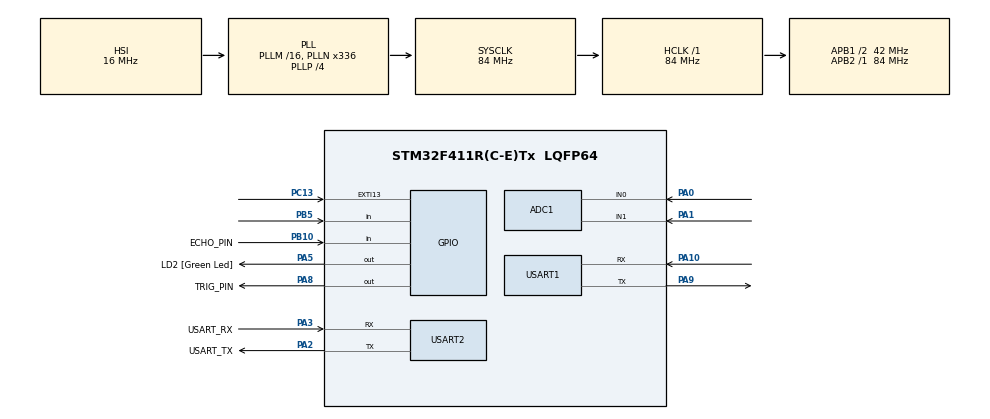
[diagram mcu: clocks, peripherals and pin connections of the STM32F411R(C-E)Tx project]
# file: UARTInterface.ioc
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ADC1.Channel-0\#ChannelRegularConversion=ADC_CHANNEL_0
ADC1.NbrOfConversionFlag=1
ADC1.Rank-0\#ChannelRegularConversion=1
ADC1.SamplingTime-0\#ChannelRegularConversion=ADC_SAMPLETIME_3CYCLES
ADC1.master=1
FREERTOS.BinarySemaphores01=myBinarySem01,Dynamic,NULL,Available
FREERTOS.Mutexes01=myAdcMutex,Dynamic,NULL,Available;myUartMutex,Dynamic,NULL,Available
FREERTOS.Tasks01=defaultTask,24,128,StartDefaultTask,Default,NULL,Dynamic,NULL,NULL
Mcu.Family=STM32F4
Mcu.Name=STM32F411R(C-E)Tx
Mcu.Package=LQFP64
NVIC.EXTI15_10_IRQn=true\:5\:0\:false\:false\:true\:true\:true\:true\:true
NVIC.PriorityGroup=NVIC_PRIORITYGROUP_4
PA0-WKUP.Signal=ADCx_IN0
PA1.Signal=ADCx_IN1
PA10.Mode=Asynchronous
PA10.Signal=USART1_RX
PA13.GPIO_Label=TMS
PA13.Mode=Serial_Wire
PA13.Signal=SYS_JTMS-SWDIO
PA14.GPIO_Label=TCK
PA14.Mode=Serial_Wire
PA14.Signal=SYS_JTCK-SWCLK
PA2.GPIO_Label=USART_TX
PA2.Mode=Asynchronous
PA2.Signal=USART2_TX
PA3.GPIO_Label=USART_RX
PA3.Mode=Asynchronous
PA3.Signal=USART2_RX
PA5.GPIO_Label=LD2 [Green Led]
PA5.Signal=GPIO_Output
PA8.GPIO_Label=TRIG_PIN
PA8.Signal=GPIO_Output
PA9.Mode=Asynchronous
PA9.Signal=USART1_TX
PB10.GPIO_Label=ECHO_PIN
PB10.Signal=GPIO_Input
PB3.GPIO_Label=SWO
PB3.Signal=SYS_JTDO-SWO
PB5.Signal=GPIO_Input
PC13-ANTI_TAMP.Signal=GPXTI13
PC14-OSC32_IN.Mode=LSE-External-Oscillator
PC14-OSC32_IN.Signal=RCC_OSC32_IN
PC15-OSC32_OUT.Mode=LSE-External-Oscillator
PC15-OSC32_OUT.Signal=RCC_OSC32_OUT
PH0\ -\ OSC_IN.Mode=HSE-External-Clock-Source
PH0\ -\ OSC_IN.Signal=RCC_OSC_IN
PH1\ -\ OSC_OUT.Mode=HSE-External-Clock-Source
PH1\ -\ OSC_OUT.Signal=RCC_OSC_OUT
ProjectManager.HeapSize=0x200
ProjectManager.StackSize=0x400
ProjectManager.TargetToolchain=STM32CubeIDE
RCC.48MHZClocksFreq_Value=84000000
RCC.AHBFreq_Value=84000000
RCC.APB1CLKDivider=RCC_HCLK_DIV2
RCC.APB1Freq_Value=42000000
RCC.APB1TimFreq_Value=84000000
RCC.APB2Freq_Value=84000000
RCC.APB2TimFreq_Value=84000000
RCC.CortexFreq_Value=84000000
RCC.FLatency-AdvancedSettings=FLASH_LATENCY_2
RCC.HCLKFreq_Value=84000000
RCC.HSE_VALUE=8000000
RCC.HSI_VALUE=16000000
RCC.PLLN=336
RCC.PLLP=RCC_PLLP_DIV4
RCC.SYSCLKFreq_VALUE=84000000
RCC.SYSCLKSource=RCC_SYSCLKSOURCE_PLLCLK
RCC.VCOOutputFreq_Value=336000000
SH.ADCx_IN0.0=ADC1_IN0,IN0
SH.ADCx_IN1.0=ADC1_IN1,IN1
TIM2.AutoReloadPreload=TIM_AUTORELOAD_PRELOAD_ENABLE
TIM2.Prescaler=83
USART1.VirtualMode=VM_ASYNC
USART2.VirtualMode=VM_ASYNC
VP_FREERTOS_VS_CMSIS_V2.Mode=CMSIS_V2
VP_TIM2_VS_ClockSourceINT.Mode=Internal
board=NUCLEO-F411RE

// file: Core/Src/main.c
/* USER CODE BEGIN Header */
/**
  ******************************************************************************
  * @file           : main.c
  * @brief          : Main program body
  ******************************************************************************
  * @attention
  *
  * Copyright (c) 2025 STMicroelectronics.
  * All rights reserved.
  *
  * This software is licensed under terms that can be found in the LICENSE file
  * in the root directory of this software component.
  * If no LICENSE file comes with this software, it is provided AS-IS.
  *
  ******************************************************************************
  */
/* USER CODE END Header */
#include "main.h"
#include "cmsis_os.h"

ADC_HandleTypeDef hadc1;

TIM_HandleTypeDef htim2;

UART_HandleTypeDef huart1;
UART_HandleTypeDef huart2;

/* Definitions for defaultTask */
osThreadId_t defaultTaskHandle;
const osThreadAttr_t defaultTask_attributes = {
  .name = "defaultTask",
  .stack_size = 128 * 4,
  .priority = (osPriority_t) osPriorityNormal,
};
/* Definitions for myAdcMutex */
osMutexId_t myAdcMutexHandle;
const osMutexAttr_t myAdcMutex_attributes = {
  .name = "myAdcMutex"
};
/* Definitions for myUartMutex */
osMutexId_t myUartMutexHandle;
const osMutexAttr_t myUartMutex_attributes = {
  .name = "myUartMutex"
};
/* Definitions for myBinarySem01 */
osSemaphoreId_t myBinarySem01Handle;
const osSemaphoreAttr_t myBinarySem01_attributes = {
  .name = "myBinarySem01"
};

void SystemClock_Config(void);
static void MX_GPIO_Init(void);
static void MX_USART2_UART_Init(void);
static void MX_USART1_UART_Init(void);
static void MX_ADC1_Init(void);
static void MX_TIM2_Init(void);
void StartDefaultTask(void *argument);

/* USER CODE BEGIN 0 */

osThreadId_t lightTaskHandle;
const osThreadAttr_t lightTask_attributes = {
  .name = "lightTask",
  .stack_size = 128 * 4,
  .priority = (osPriority_t) osPriorityLow,
};

osThreadId_t soundTaskHandle;
const osThreadAttr_t soundTask_attributes = {
  .name = "soundTask",
  .stack_size = 128 * 4,
  .priority = (osPriority_t) osPriorityAboveNormal,
};

osThreadId_t soundTaskWithDynamicNoisesHandle;
const osThreadAttr_t soundTaskWithDynamicNoises_attributes = {
  .name = "soundTaskWithDynamicNoises",
  .stack_size = 128 * 4,
  .priority = (osPriority_t) osPriorityAboveNormal,
};

osThreadId_t sonicTaskHandle;
const osThreadAttr_t sonicTask_attributes = {
  .name = "sonicTask",
  .stack_size = 128 * 4,
  .priority = (osPriority_t) osPriorityNormal,
};

osThreadId_t UARTTaskHandle;
const osThreadAttr_t UARTTask_attributes = {
  .name = "UARTTask",
  .stack_size = 128 * 4,
  .priority = (osPriority_t) osPriorityNormal,
};

osThreadId_t CalibrationTaskHandle;
const osThreadAttr_t CalibrationTask_attributes = {
  .name = "CalibrationTask",
  .stack_size = 128 * 4,
  .priority = (osPriority_t) osPriorityNormal,
};

char mes[] = "{\"dist\": 10, \"light\": 20, \"sound\": 30}\r\n";
uint8_t btnPress=0;
uint32_t btnPressTime=0;

//uint32_t LIGHT_THRESHOLD = 100;
uint32_t LIGHT_SAMP = 40;

//uint32_t AMP_THRESHOLD = 80;
uint32_t SOUND_SAMP = 170;
//Dynamic noises
float noise_floor = 40.0;
const float alpha = 0.05; // Learning rate (0.01 = slow, 0.1 = fast)
const float sensitivity_ratio = 1.5; // Trigger with noise * sen_ratio

//ultrasonic
uint32_t inputCaptureVal1 = 0;
uint32_t inputCaptureVal2 = 0;
uint32_t difference = 0;
uint8_t isFirstCaptured = 0;  // 0 = capturing first edge, 1 = capturing second
uint32_t distance = 0;

char calib_msg[100];

int distVal = 0;
int lightVal = 0;
int soundVal = 0;

void UARTTask(void *argument)
{
	  while(1)
	  {
		  int currentSound = 0;

		  taskENTER_CRITICAL();
		  currentSound = soundVal;
		  soundVal = 0;
		  taskEXIT_CRITICAL();

		  sprintf(mes, "{\"dist\": %d, \"light\": %d, \"sound\": %d}\r\n", distVal, lightVal, currentSound);
		  if (osMutexAcquire(myUartMutexHandle, osWaitForever) == osOK)
		  {
			  HAL_UART_Transmit(&huart1, mes, strlen(mes), HAL_MAX_DELAY);
			  HAL_UART_Transmit(&huart2, mes, strlen(mes), HAL_MAX_DELAY);

			  osMutexRelease(myUartMutexHandle);
		  }

		  osDelay(1000);
	  }
}

void lightTask(void *argument)
{
	while (1)
	{
		uint32_t sample = 0;
		uint32_t signal_max = 0;

		//lock myAdcMutex if available
		if (osMutexAcquire(myAdcMutexHandle, osWaitForever) == osOK)
		{
			ADC_ChannelConfTypeDef sConfig = {0};
			sConfig.Channel = ADC_CHANNEL_1;
			sConfig.Rank = 1;
			sConfig.SamplingTime = ADC_SAMPLETIME_15CYCLES;
			HAL_ADC_ConfigChannel(&hadc1, &sConfig);

			uint32_t start_time = HAL_GetTick();
			//sampling for LIGHT_SAMP
			while ((HAL_GetTick() - start_time) < LIGHT_SAMP)
			{
				HAL_ADC_Start(&hadc1);
			    if (HAL_ADC_PollForConversion(&hadc1, 1) == HAL_OK)
			    {
			    	sample = HAL_ADC_GetValue(&hadc1);
			        HAL_ADC_Stop(&hadc1);

			        if (sample > signal_max) signal_max = sample;
			    }
			}

			lightVal = signal_max;
			osMutexRelease(myAdcMutexHandle);
		}

		// rest + release Mutex
		osDelay(800);
	}
}

void soundTask(void *argument)
{
	while (1)
	{
		uint32_t signal_max = 0;
		uint32_t signal_min = 4095;
		uint32_t sample = 0;

		//lock myAdcMutex if available
		if (osMutexAcquire(myAdcMutexHandle, osWaitForever) == osOK)
		{
			ADC_ChannelConfTypeDef sConfig = {0};
			sConfig.Channel = ADC_CHANNEL_0;
			sConfig.Rank = 1;
			sConfig.SamplingTime = ADC_SAMPLETIME_15CYCLES;
			HAL_ADC_ConfigChannel(&hadc1, &sConfig);

			uint32_t start_time = HAL_GetTick();
			//sampling for SOUND_SAMP
			while ((HAL_GetTick() - start_time) < SOUND_SAMP)
			{
				HAL_ADC_Start(&hadc1);
			    if (HAL_ADC_PollForConversion(&hadc1, 1) == HAL_OK)
			    {
			    	sample = HAL_ADC_GetValue(&hadc1);
			        HAL_ADC_Stop(&hadc1);

			        if (sample > signal_max) signal_max = sample;
			        if (sample < signal_min) signal_min = sample;
			    }
			}
			osMutexRelease(myAdcMutexHandle);
			uint32_t amplitude = signal_max - signal_min;
			// prevent overwriting the critical amplitude
			if (amplitude > soundVal)
			{
				soundVal = amplitude;
			}
		}

		// rest + release Mutex
		osDelay(20);
	}
}

void soundTaskWithDynamicNoises(void *argument)
{
	while (1)
	{
		uint32_t signal_max = 0;
		uint32_t signal_min = 4095;
		uint32_t sample = 0;

		//lock myAdcMutex if available
		if (osMutexAcquire(myAdcMutexHandle, osWaitForever) == osOK)
		{
			ADC_ChannelConfTypeDef sConfig = {0};
			sConfig.Channel = ADC_CHANNEL_0;
			sConfig.Rank = 1;
			sConfig.SamplingTime = ADC_SAMPLETIME_15CYCLES;
			HAL_ADC_ConfigChannel(&hadc1, &sConfig);

			uint32_t start_time = HAL_GetTick();
			//sampling for SOUND_SAMP
			while ((HAL_GetTick() - start_time) < SOUND_SAMP)
			{
				HAL_ADC_Start(&hadc1);
			    if (HAL_ADC_PollForConversion(&hadc1, 1) == HAL_OK)
			    {
			    	sample = HAL_ADC_GetValue(&hadc1);
			        HAL_ADC_Stop(&hadc1);

			        if (sample > signal_max) signal_max = sample;
			        if (sample < signal_min) signal_min = sample;
			    }
			}

			osMutexRelease(myAdcMutexHandle);

			uint32_t amplitude = signal_max - signal_min;
			if (amplitude > (noise_floor * sensitivity_ratio))
			{
				// Update the critical value for UART
			    taskENTER_CRITICAL();
			    if (amplitude > soundVal)
			    {
			    	soundVal = amplitude;
			    }
			    taskEXIT_CRITICAL();
			}
			else
			{
				// Update the "Noise Floor"
			    noise_floor = (alpha * amplitude) + ((1.0 - alpha) * noise_floor);
			}
		}

		// rest + release Mutex
		osDelay(10);
	}
}

// delay with micro sec
void delay_us (uint16_t us)
{
	__HAL_TIM_SET_COUNTER(&htim2,0);  // Reset the counter to 0
	while (__HAL_TIM_GET_COUNTER(&htim2) < us);  // Wait until counter reaches the requested delay
}

void sonicTask(void *argument)
{
	while (1)
	{
	    // ensure clean start
	    HAL_GPIO_WritePin(TRIG_PIN_GPIO_Port, TRIG_PIN_Pin, GPIO_PIN_RESET);
	    delay_us(3);

	    // Trigger Pulse (10us High)
	    HAL_GPIO_WritePin(TRIG_PIN_GPIO_Port, TRIG_PIN_Pin, GPIO_PIN_SET);
	    delay_us(10);
	    HAL_GPIO_WritePin(TRIG_PIN_GPIO_Port, TRIG_PIN_Pin, GPIO_PIN_RESET);

	    // Wait for response from ECHO pin
	    // Note: In a real product, add a timeout here so code doesn't hang if sensor is broken
	    while (HAL_GPIO_ReadPin(ECHO_PIN_GPIO_Port, ECHO_PIN_Pin) == GPIO_PIN_RESET);

	    // set counter to 0 at the moment ECHO goes HIGH
	    __HAL_TIM_SET_COUNTER(&htim2, 0);

	    // wait for the end of response
	    while (HAL_GPIO_ReadPin(ECHO_PIN_GPIO_Port, ECHO_PIN_Pin) == GPIO_PIN_SET);

	    // time passed
	    difference = __HAL_TIM_GET_COUNTER(&htim2);

	    // Speed of sound is 343 m/s or 0.0343 cm/us.
	    // Distance = (Time * Speed) / 2 (because sound goes there and back)
	    distVal = (difference * 0.0343) / 2;

		osDelay(500);
	}
}

volatile uint32_t last_interrupt_time = 0;

void HAL_GPIO_EXTI_Callback(uint16_t GPIO_Pin)
{
    if (GPIO_Pin == GPIO_PIN_13)
    {
    	uint32_t current_time = HAL_GetTick();
    	if ((current_time - last_interrupt_time) > 200) {
    		last_interrupt_time = current_time;
            osSemaphoreRelease(myBinarySem01Handle);
    	}
    }
}

void CalibrationTask(void *argument)
{
  while(1)
  {
	// user button pressed
    osSemaphoreAcquire(myBinarySem01Handle, osWaitForever);

    HAL_GPIO_WritePin(GPIOA, GPIO_PIN_5, GPIO_PIN_SET);

    uint32_t sum_dist = 0;
    uint32_t sum_light = 0;
    uint32_t sum_sound = 0;
    int samples = 0;

    // sample every 0.5 sec for 20 samples (total 10 sec)
    for (int i = 0; i < 20; i++)
    {
    	if (distVal != 0 && lightVal != 0 && soundVal != 0) {
            sum_dist  += distVal;
            sum_light += lightVal;
            sum_sound += soundVal;
            samples++;
    	}
        osDelay(500);
    }

    int avg_dist  = sum_dist / samples;
    int avg_light = sum_light / samples;
    int avg_sound = sum_sound / samples;

    sprintf(calib_msg, "{\"calibrate\": 1, \"dist\": %d, \"light\": %d, \"sound\": %d}\r\n", avg_dist, avg_light, avg_sound);

    if (osMutexAcquire(myUartMutexHandle, osWaitForever) == osOK)
    {
        HAL_UART_Transmit(&huart1, calib_msg, strlen(calib_msg), HAL_MAX_DELAY);
        HAL_UART_Transmit(&huart2, calib_msg, strlen(calib_msg), HAL_MAX_DELAY);

        osMutexRelease(myUartMutexHandle);
    }

    HAL_GPIO_WritePin(GPIOA, GPIO_PIN_5, GPIO_PIN_RESET);
  }
}

/* USER CODE END 0 */

int main(void)
{

  /* MCU Configuration--------------------------------------------------------*/

  /* Reset of all peripherals, Initializes the Flash interface and the Systick. */
  HAL_Init();

  /* Configure the system clock */
  SystemClock_Config();

  /* Initialize all configured peripherals */
  MX_GPIO_Init();
  MX_USART2_UART_Init();
  MX_USART1_UART_Init();
  MX_ADC1_Init();
  MX_TIM2_Init();
  /* USER CODE BEGIN 2 */
  HAL_TIM_Base_Start(&htim2);
  /* USER CODE END 2 */

  /* Init scheduler */
  osKernelInitialize();
  /* Create the mutex(es) */
  /* creation of myAdcMutex */
  myAdcMutexHandle = osMutexNew(&myAdcMutex_attributes);

  /* creation of myUartMutex */
  myUartMutexHandle = osMutexNew(&myUartMutex_attributes);

  /* Create the semaphores(s) */
  /* creation of myBinarySem01 */
  myBinarySem01Handle = osSemaphoreNew(1, 1, &myBinarySem01_attributes);

  /* Create the thread(s) */
  /* creation of defaultTask */
  defaultTaskHandle = osThreadNew(StartDefaultTask, NULL, &defaultTask_attributes);

  /* USER CODE BEGIN RTOS_THREADS */
  /* add threads, ... */
  UARTTaskHandle = osThreadNew(UARTTask, NULL, &UARTTask_attributes);
  lightTaskHandle = osThreadNew(lightTask, NULL, &lightTask_attributes);
  soundTaskHandle = osThreadNew(soundTask, NULL, &soundTask_attributes);
//  soundTaskWithDynamicNoisesHandle = osThreadNew(soundTaskWithDynamicNoises, NULL, &soundTaskWithDynamicNoises_attributes);
  sonicTaskHandle = osThreadNew(sonicTask, NULL, &sonicTask_attributes);
  CalibrationTaskHandle = osThreadNew(CalibrationTask, NULL, &CalibrationTask_attributes);

  /* USER CODE END RTOS_THREADS */

  /* Start scheduler */
  osKernelStart();

  /* We should never get here as control is now taken by the scheduler */

  /* Infinite loop */
  while (1)
  {

  }
}

void SystemClock_Config(void)
{
  RCC_OscInitTypeDef RCC_OscInitStruct = {0};
  RCC_ClkInitTypeDef RCC_ClkInitStruct = {0};

  /** Configure the main internal regulator output voltage
  */
  __HAL_RCC_PWR_CLK_ENABLE();
  __HAL_PWR_VOLTAGESCALING_CONFIG(PWR_REGULATOR_VOLTAGE_SCALE1);

  /** Initializes the RCC Oscillators according to the specified parameters
  * in the RCC_OscInitTypeDef structure.
  */
  RCC_OscInitStruct.OscillatorType = RCC_OSCILLATORTYPE_HSI;
  RCC_OscInitStruct.HSIState = RCC_HSI_ON;
  RCC_OscInitStruct.HSICalibrationValue = RCC_HSICALIBRATION_DEFAULT;
  RCC_OscInitStruct.PLL.PLLState = RCC_PLL_ON;
  RCC_OscInitStruct.PLL.PLLSource = RCC_PLLSOURCE_HSI;
  RCC_OscInitStruct.PLL.PLLM = 16;
  RCC_OscInitStruct.PLL.PLLN = 336;
  RCC_OscInitStruct.PLL.PLLP = RCC_PLLP_DIV4;
  RCC_OscInitStruct.PLL.PLLQ = 4;
  if (HAL_RCC_OscConfig(&RCC_OscInitStruct) != HAL_OK)
  {
    Error_Handler();
  }

  /** Initializes the CPU, AHB and APB buses clocks
  */
  RCC_ClkInitStruct.ClockType = RCC_CLOCKTYPE_HCLK|RCC_CLOCKTYPE_SYSCLK
                              |RCC_CLOCKTYPE_PCLK1|RCC_CLOCKTYPE_PCLK2;
  RCC_ClkInitStruct.SYSCLKSource = RCC_SYSCLKSOURCE_PLLCLK;
  RCC_ClkInitStruct.AHBCLKDivider = RCC_SYSCLK_DIV1;
  RCC_ClkInitStruct.APB1CLKDivider = RCC_HCLK_DIV2;
  RCC_ClkInitStruct.APB2CLKDivider = RCC_HCLK_DIV1;

  if (HAL_RCC_ClockConfig(&RCC_ClkInitStruct, FLASH_LATENCY_2) != HAL_OK)
  {
    Error_Handler();
  }
}

static void MX_ADC1_Init(void)
{

  ADC_ChannelConfTypeDef sConfig = {0};

  /** Configure the global features of the ADC (Clock, Resolution, Data Alignment and number of conversion)
  */
  hadc1.Instance = ADC1;
  hadc1.Init.ClockPrescaler = ADC_CLOCK_SYNC_PCLK_DIV4;
  hadc1.Init.Resolution = ADC_RESOLUTION_12B;
  hadc1.Init.ScanConvMode = DISABLE;
  hadc1.Init.ContinuousConvMode = DISABLE;
  hadc1.Init.DiscontinuousConvMode = DISABLE;
  hadc1.Init.ExternalTrigConvEdge = ADC_EXTERNALTRIGCONVEDGE_NONE;
  hadc1.Init.ExternalTrigConv = ADC_SOFTWARE_START;
  hadc1.Init.DataAlign = ADC_DATAALIGN_RIGHT;
  hadc1.Init.NbrOfConversion = 1;
  hadc1.Init.DMAContinuousRequests = DISABLE;
  hadc1.Init.EOCSelection = ADC_EOC_SINGLE_CONV;
  if (HAL_ADC_Init(&hadc1) != HAL_OK)
  {
    Error_Handler();
  }

  /** Configure for the selected ADC regular channel its corresponding rank in the sequencer and its sample time.
  */
  sConfig.Channel = ADC_CHANNEL_0;
  sConfig.Rank = 1;
  sConfig.SamplingTime = ADC_SAMPLETIME_3CYCLES;
  if (HAL_ADC_ConfigChannel(&hadc1, &sConfig) != HAL_OK)
  {
    Error_Handler();
  }

}

static void MX_TIM2_Init(void)
{

  TIM_ClockConfigTypeDef sClockSourceConfig = {0};
  TIM_MasterConfigTypeDef sMasterConfig = {0};

  htim2.Instance = TIM2;
  htim2.Init.Prescaler = 83;
  htim2.Init.CounterMode = TIM_COUNTERMODE_UP;
  htim2.Init.Period = 4294967295;
  htim2.Init.ClockDivision = TIM_CLOCKDIVISION_DIV1;
  htim2.Init.AutoReloadPreload = TIM_AUTORELOAD_PRELOAD_ENABLE;
  if (HAL_TIM_Base_Init(&htim2) != HAL_OK)
  {
    Error_Handler();
  }
  sClockSourceConfig.ClockSource = TIM_CLOCKSOURCE_INTERNAL;
  if (HAL_TIM_ConfigClockSource(&htim2, &sClockSourceConfig) != HAL_OK)
  {
    Error_Handler();
  }
  sMasterConfig.MasterOutputTrigger = TIM_TRGO_RESET;
  sMasterConfig.MasterSlaveMode = TIM_MASTERSLAVEMODE_DISABLE;
  if (HAL_TIMEx_MasterConfigSynchronization(&htim2, &sMasterConfig) != HAL_OK)
  {
    Error_Handler();
  }

}

static void MX_USART1_UART_Init(void)
{

  huart1.Instance = USART1;
  huart1.Init.BaudRate = 115200;
  huart1.Init.WordLength = UART_WORDLENGTH_8B;
  huart1.Init.StopBits = UART_STOPBITS_1;
  huart1.Init.Parity = UART_PARITY_NONE;
  huart1.Init.Mode = UART_MODE_TX_RX;
  huart1.Init.HwFlowCtl = UART_HWCONTROL_NONE;
  huart1.Init.OverSampling = UART_OVERSAMPLING_16;
  if (HAL_UART_Init(&huart1) != HAL_OK)
  {
    Error_Handler();
  }

}

static void MX_USART2_UART_Init(void)
{

  huart2.Instance = USART2;
  huart2.Init.BaudRate = 115200;
  huart2.Init.WordLength = UART_WORDLENGTH_8B;
  huart2.Init.StopBits = UART_STOPBITS_1;
  huart2.Init.Parity = UART_PARITY_NONE;
  huart2.Init.Mode = UART_MODE_TX_RX;
  huart2.Init.HwFlowCtl = UART_HWCONTROL_NONE;
  huart2.Init.OverSampling = UART_OVERSAMPLING_16;
  if (HAL_UART_Init(&huart2) != HAL_OK)
  {
    Error_Handler();
  }

}

static void MX_GPIO_Init(void)
{
  GPIO_InitTypeDef GPIO_InitStruct = {0};

  /* GPIO Ports Clock Enable */
  __HAL_RCC_GPIOC_CLK_ENABLE();
  __HAL_RCC_GPIOH_CLK_ENABLE();
  __HAL_RCC_GPIOA_CLK_ENABLE();
  __HAL_RCC_GPIOB_CLK_ENABLE();

  /*Configure GPIO pin Output Level */
  HAL_GPIO_WritePin(GPIOA, LD2_Pin|TRIG_PIN_Pin, GPIO_PIN_RESET);

  /*Configure GPIO pin : PC13 */
  GPIO_InitStruct.Pin = GPIO_PIN_13;
  GPIO_InitStruct.Mode = GPIO_MODE_IT_RISING;
  GPIO_InitStruct.Pull = GPIO_NOPULL;
  HAL_GPIO_Init(GPIOC, &GPIO_InitStruct);

  /*Configure GPIO pins : LD2_Pin TRIG_PIN_Pin */
  GPIO_InitStruct.Pin = LD2_Pin|TRIG_PIN_Pin;
  GPIO_InitStruct.Mode = GPIO_MODE_OUTPUT_PP;
  GPIO_InitStruct.Pull = GPIO_NOPULL;
  GPIO_InitStruct.Speed = GPIO_SPEED_FREQ_LOW;
  HAL_GPIO_Init(GPIOA, &GPIO_InitStruct);

  /*Configure GPIO pins : ECHO_PIN_Pin PB5 */
  GPIO_InitStruct.Pin = ECHO_PIN_Pin|GPIO_PIN_5;
  GPIO_InitStruct.Mode = GPIO_MODE_INPUT;
  GPIO_InitStruct.Pull = GPIO_NOPULL;
  HAL_GPIO_Init(GPIOB, &GPIO_InitStruct);

  /* EXTI interrupt init*/
  HAL_NVIC_SetPriority(EXTI15_10_IRQn, 5, 0);
  HAL_NVIC_EnableIRQ(EXTI15_10_IRQn);

}

void StartDefaultTask(void *argument)
{
  for(;;)
  {
    osDelay(1);
  }
}

void Error_Handler(void)
{
  __disable_irq();
  while (1)
  {
  }
}
